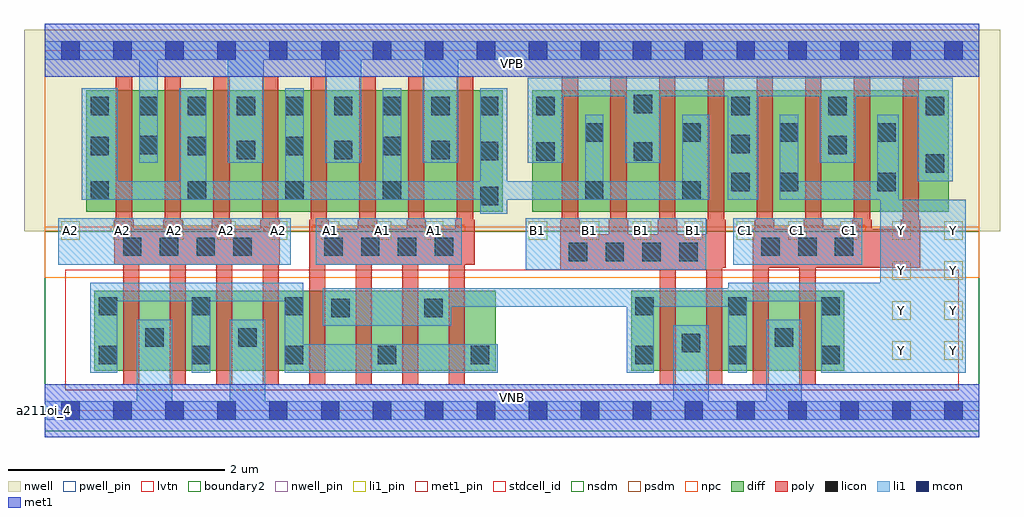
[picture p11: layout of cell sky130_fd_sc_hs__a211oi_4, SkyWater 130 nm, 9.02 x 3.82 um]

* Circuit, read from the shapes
.subckt sky130_fd_sc_hs__a211oi_4 A1 A2 B1 C1 VGND VNB VPB VPWR Y
XM1 VGND A2 n1 VNB sky130_fd_pr__nfet_01v8_lvt w=0.74 l=0.15 m=4
XM2 Y A1 n1 VNB sky130_fd_pr__nfet_01v8_lvt w=0.74 l=0.15 m=4
XM3 VGND B1 Y VNB sky130_fd_pr__nfet_01v8_lvt w=0.74 l=0.15 m=2
XM4 VGND C1 Y VNB sky130_fd_pr__nfet_01v8_lvt w=0.74 l=0.15 m=2
XM5 VPWR A2 n2 VPB sky130_fd_pr__pfet_01v8 w=1.12 l=0.15 m=4
XM6 VPWR A1 n2 VPB sky130_fd_pr__pfet_01v8 w=1.12 l=0.15 m=4
XM7 n2 B1 n3 VPB sky130_fd_pr__pfet_01v8 w=1.12 l=0.15 m=4
XM8 Y C1 n3 VPB sky130_fd_pr__pfet_01v8 w=1.12 l=0.15 m=4
.ends

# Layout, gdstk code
import gdstk
lib = gdstk.Library(unit=1e-6, precision=1e-09)
def R(c, l, rs):  # rectangles x0, y0, x1, y1
    for r in rs: c.add(gdstk.rectangle(r[:2], r[2:], *l))
def A(c, l, x, y, w, h, nx, ny, dx, dy):  # array of equal rectangles
    R(c, l, [(x+i*dx, y+j*dy, x+i*dx+w, y+j*dy+h) for i in range(nx) for j in range(ny)])
def P(c, l, *ps):  # polygons
    for p in ps: c.add(gdstk.Polygon(p, *l))
nwell_pin = (64, 16)
nwell = (64, 20)
diff = (65, 20)
poly = (66, 20)
licon = (66, 44)
li1_pin = (67, 16)
li1 = (67, 20)
mcon = (67, 44)
met1_pin = (68, 16)
met1 = (68, 20)
stdcell_id = (81, 4)
nsdm = (93, 44)
psdm = (94, 20)
npc = (95, 20)
pwell_pin = (122, 16)
lvtn = (125, 44)
boundary2 = (236, 0)

sky130_fd_sc_hs__a211oi_ = lib.new_cell('sky130_fd_sc_hs__a211oi_4')
R(sky130_fd_sc_hs__a211oi_, nwell_pin, [(0,3.085,8.64,3.33)])
R(sky130_fd_sc_hs__a211oi_, nwell, [(-0.19,1.66,8.83,3.52)])
R(sky130_fd_sc_hs__a211oi_, diff, [(0.46,0.37,4.17,1.11), (5.42,0.37,7.39,1.11), (0.385,1.84,4.235,2.96), (4.505,1.84,8.355,2.96)])
P(sky130_fd_sc_hs__a211oi_, poly, [(2.175,1.765),(2.16,1.765),(2.16,3.09),(2.01,3.09),(2.01,1.765),(1.995,1.765),(1.995,1.68),(1.725,1.68),(1.725,1.765),(1.71,1.765),(1.71,3.09),(1.56,3.09),(1.56,1.765),(1.545,1.765),(1.545,1.68),(1.275,1.68),(1.275,1.765),(1.26,1.765),(1.26,3.09),(1.11,3.09),(1.11,1.765),(1.095,1.765),(1.095,1.68),(0.825,1.68),(0.825,1.765),(0.81,1.765),(0.81,3.09),(0.66,3.09),(0.66,1.765),(0.645,1.765),(0.645,1.35),(0.725,1.35),(0.725,0.24),(0.875,0.24),(0.875,1.35),(1.155,1.35),(1.155,0.24),(1.305,0.24),(1.305,1.35),(1.585,1.35),(1.585,0.24),(1.735,0.24),(1.735,1.35),(2.015,1.35),(2.015,0.24),(2.165,0.24),(2.165,1.35),(2.175,1.35)],
  [(3.975,1.765),(3.96,1.765),(3.96,3.09),(3.81,3.09),(3.81,1.765),(3.795,1.765),(3.795,1.68),(3.525,1.68),(3.525,1.765),(3.51,1.765),(3.51,3.09),(3.36,3.09),(3.36,1.765),(3.345,1.765),(3.345,1.68),(3.075,1.68),(3.075,1.765),(3.06,1.765),(3.06,3.09),(2.91,3.09),(2.91,1.765),(2.895,1.765),(2.895,1.68),(2.625,1.68),(2.625,1.765),(2.61,1.765),(2.61,3.09),(2.46,3.09),(2.46,1.765),(2.445,1.765),(2.445,0.24),(2.595,0.24),(2.595,1.35),(2.875,1.35),(2.875,0.24),(3.025,0.24),(3.025,1.35),(3.305,1.35),(3.305,0.24),(3.455,0.24),(3.455,1.35),(3.735,1.35),(3.735,0.24),(3.885,0.24),(3.885,1.35),(3.975,1.35)],
  [(6.295,1.765),(6.28,1.765),(6.28,3.09),(6.13,3.09),(6.13,1.765),(6.115,1.765),(6.115,1.63),(5.845,1.63),(5.845,1.765),(5.83,1.765),(5.83,3.09),(5.68,3.09),(5.68,1.765),(5.665,1.765),(5.665,1.63),(5.395,1.63),(5.395,1.765),(5.38,1.765),(5.38,3.09),(5.23,3.09),(5.23,1.765),(5.215,1.765),(5.215,1.63),(4.945,1.63),(4.945,1.765),(4.93,1.765),(4.93,3.09),(4.78,3.09),(4.78,1.765),(4.765,1.765),(4.765,1.3),(5.685,1.3),(5.685,0.24),(5.835,0.24),(5.835,1.3),(6.115,1.3),(6.115,0.24),(6.265,0.24),(6.265,1.32),(6.295,1.32)],
  [(8.095,1.765),(8.08,1.765),(8.08,3.09),(7.93,3.09),(7.93,1.765),(7.915,1.765),(7.915,1.68),(7.645,1.68),(7.645,1.765),(7.63,1.765),(7.63,3.09),(7.48,3.09),(7.48,1.765),(7.465,1.765),(7.465,1.68),(7.195,1.68),(7.195,1.765),(7.18,1.765),(7.18,3.09),(7.03,3.09),(7.03,1.765),(7.015,1.765),(7.015,1.68),(6.745,1.68),(6.745,1.765),(6.73,1.765),(6.73,3.09),(6.58,3.09),(6.58,1.765),(6.565,1.765),(6.565,1.68),(6.545,1.68),(6.545,0.24),(6.695,0.24),(6.695,1.32),(6.975,1.32),(6.975,0.24),(7.125,0.24),(7.125,1.32),(8.095,1.32)])
A(sky130_fd_sc_hs__a211oi_, licon, 0.5, 0.43, 0.17, 0.17, 5, 1, 0.86, 0)
A(sky130_fd_sc_hs__a211oi_, licon, 5.46, 0.43, 0.17, 0.17, 3, 2, 0.86, 0.45)
A(sky130_fd_sc_hs__a211oi_, licon, 0.5, 0.88, 0.17, 0.17, 3, 1, 0.86, 0)
A(sky130_fd_sc_hs__a211oi_, licon, 4.845, 1.38, 0.17, 0.17, 4, 1, 0.34, 0)
A(sky130_fd_sc_hs__a211oi_, licon, 0.725, 1.43, 0.17, 0.17, 4, 1, 0.34, 0)
A(sky130_fd_sc_hs__a211oi_, licon, 2.585, 1.43, 0.17, 0.17, 4, 1, 0.34, 0)
A(sky130_fd_sc_hs__a211oi_, licon, 6.625, 1.43, 0.17, 0.17, 3, 1, 0.34, 0)
A(sky130_fd_sc_hs__a211oi_, licon, 0.425, 1.95, 0.17, 0.17, 4, 2, 0.9, 0.41)
A(sky130_fd_sc_hs__a211oi_, licon, 1.775, 2.325, 0.17, 0.17, 3, 1, 0.9, 0)
A(sky130_fd_sc_hs__a211oi_, licon, 4.995, 2.485, 0.17, 0.17, 4, 1, 0.9, 0)
A(sky130_fd_sc_hs__a211oi_, licon, 0.425, 2.73, 0.17, 0.17, 9, 1, 0.45, 0)
A(sky130_fd_sc_hs__a211oi_, licon, 6.345, 2.73, 0.17, 0.17, 3, 1, 0.9, 0)
R(sky130_fd_sc_hs__a211oi_, licon, [(5.89,0.54,6.06,0.71), (0.93,0.59,1.1,0.76), (1.79,0.59,1.96,0.76), (6.75,0.59,6.92,0.76), (2.65,0.865,2.82,1.035), (3.51,0.865,3.68,1.035), (4.025,1.9,4.195,2.07), (4.995,1.95,5.165,2.12), (5.895,1.95,6.065,2.12), (6.345,2.03,6.515,2.2), (6.795,2.03,6.965,2.2), (7.695,2.03,7.865,2.2), (8.145,2.2,8.315,2.37), (4.545,2.31,4.715,2.48), (5.445,2.31,5.615,2.48), (4.025,2.315,4.195,2.485), (0.875,2.37,1.045,2.54), (7.245,2.37,7.415,2.54), (6.345,2.38,6.515,2.55), (4.545,2.73,4.715,2.9), (5.445,2.75,5.615,2.92)])
A(sky130_fd_sc_hs__a211oi_, li1_pin, 7.835, 0.47, 0.17, 0.17, 1, 3, 0, 0.37)
A(sky130_fd_sc_hs__a211oi_, li1_pin, 8.315, 0.47, 0.17, 0.17, 1, 3, 0, 0.37)
A(sky130_fd_sc_hs__a211oi_, li1_pin, 0.155, 1.58, 0.17, 0.17, 8, 1, 0.48, 0)
A(sky130_fd_sc_hs__a211oi_, li1_pin, 4.475, 1.58, 0.17, 0.17, 9, 1, 0.48, 0)
R(sky130_fd_sc_hs__a211oi_, li1, [(4.445,1.3,6.115,1.78), (0.125,1.35,2.275,1.78), (2.505,1.35,3.855,1.78), (6.365,1.35,7.555,1.78)])
P(sky130_fd_sc_hs__a211oi_, li1, [(3.495,2.29),(3.495,3.245),(2.925,3.245),(2.925,2.29),(2.595,2.29),(2.595,3.245),(2.025,3.245),(2.025,2.29),(1.695,2.29),(1.695,3.245),(1.045,3.245),(1.045,2.29),(0.875,2.29),(0.875,3.245),(0,3.245),(0,3.415),(8.64,3.415),(8.64,3.245),(3.825,3.245),(3.825,2.29)],
  [(1.71,0.085),(1.71,0.84),(2.04,0.84),(2.04,0.085),(5.81,0.085),(5.81,0.79),(6.14,0.79),(6.14,0.085),(6.67,0.085),(6.67,0.84),(7,0.84),(7,0.085),(8.64,0.085),(8.64,-0.085),(0,-0.085),(0,0.085),(0.85,0.085),(0.85,0.84),(1.18,0.84),(1.18,0.085)],
  [(7.725,1.18),(7.725,1.95),(6.795,1.95),(6.795,2.735),(6.965,2.735),(6.965,2.12),(7.695,2.12),(7.695,2.735),(7.895,2.735),(7.895,1.95),(8.515,1.95),(8.515,0.35),(7.18,0.35),(7.18,1.01),(6.49,1.01),(6.49,0.35),(6.32,0.35),(6.32,0.96),(5.63,0.96),(5.63,0.35),(5.38,0.35),(5.38,0.96),(3.76,0.96),(3.76,0.785),(2.57,0.785),(2.57,1.13),(6.32,1.13),(6.32,1.18)],
  [(8.395,3.075),(4.465,3.075),(4.465,2.29),(4.795,2.29),(4.795,2.905),(5.365,2.905),(5.365,2.29),(5.695,2.29),(5.695,2.905),(6.315,2.905),(6.315,1.95),(6.595,1.95),(6.595,2.905),(7.165,2.905),(7.165,2.29),(7.495,2.29),(7.495,2.905),(8.065,2.905),(8.065,2.12),(8.395,2.12)],
  [(1.36,0.35),(1.36,1.01),(0.67,1.01),(0.67,0.35),(0.42,0.35),(0.42,1.18),(2.39,1.18),(2.39,0.615),(4.19,0.615),(4.19,0.35),(2.22,0.35),(2.22,1.01),(1.53,1.01),(1.53,0.35)],
  [(6.145,2.735),(5.895,2.735),(5.895,2.12),(5.165,2.12),(5.165,2.735),(4.995,2.735),(4.995,2.12),(4.275,2.12),(4.275,2.98),(4.025,2.98),(4.025,2.12),(3.295,2.12),(3.295,2.98),(3.125,2.98),(3.125,2.12),(2.395,2.12),(2.395,2.98),(2.225,2.98),(2.225,2.12),(1.495,2.12),(1.495,2.98),(1.245,2.98),(1.245,2.12),(0.675,2.12),(0.675,2.98),(0.345,2.98),(0.345,1.95),(4.025,1.95),(4.025,1.82),(4.275,1.82),(4.275,1.95),(6.145,1.95)])
A(sky130_fd_sc_hs__a211oi_, mcon, 0.155, -0.085, 0.17, 0.17, 18, 2, 0.48, 3.33)
R(sky130_fd_sc_hs__a211oi_, met1_pin, [(0,0,8.64,0.245), (0,3.085,8.64,3.33)])
R(sky130_fd_sc_hs__a211oi_, met1, [(0,-0.245,8.64,0.245), (0,3.085,8.64,3.575)])
R(sky130_fd_sc_hs__a211oi_, stdcell_id, [(0,0,8.64,3.33)])
R(sky130_fd_sc_hs__a211oi_, nsdm, [(0,-0.19,8.64,1.66)])
P(sky130_fd_sc_hs__a211oi_, psdm, [(8.64,3.52),(0,3.52),(0,1.66),(0.615,1.66),(0.615,1.71),(2.025,1.71),(2.025,1.66),(2.475,1.66),(2.475,1.71),(3.885,1.71),(3.885,1.66),(6.515,1.66),(6.515,1.71),(7.585,1.71),(7.585,1.66),(8.64,1.66)])
R(sky130_fd_sc_hs__a211oi_, npc, [(0,1.23,8.64,1.7)])
R(sky130_fd_sc_hs__a211oi_, pwell_pin, [(0,0,8.64,0.245)])
R(sky130_fd_sc_hs__a211oi_, lvtn, [(0.19,0.19,8.45,1.3)])
R(sky130_fd_sc_hs__a211oi_, boundary2, [(0,0,8.64,3.33)])
sky130_fd_sc_hs__a211oi_.add(gdstk.Label('a211oi_4', (0,0), layer=83, texttype=44))
sky130_fd_sc_hs__a211oi_.add(gdstk.Label('VNB', (4.32,0.123), layer=64, texttype=59))
sky130_fd_sc_hs__a211oi_.add(gdstk.Label('VPB', (4.32,3.208), layer=64, texttype=5))
sky130_fd_sc_hs__a211oi_.add(gdstk.Label('VPWR', (4.32,3.208), layer=68, texttype=5))
sky130_fd_sc_hs__a211oi_.add(gdstk.Label('VGND', (4.32,0.123), layer=68, texttype=5))
sky130_fd_sc_hs__a211oi_.add(gdstk.Label('Y', (7.92,0.555), layer=67, texttype=5))
sky130_fd_sc_hs__a211oi_.add(gdstk.Label('Y', (7.92,0.925), layer=67, texttype=5))
sky130_fd_sc_hs__a211oi_.add(gdstk.Label('Y', (7.92,1.295), layer=67, texttype=5))
sky130_fd_sc_hs__a211oi_.add(gdstk.Label('Y', (7.92,1.665), layer=67, texttype=5))
sky130_fd_sc_hs__a211oi_.add(gdstk.Label('Y', (8.4,0.555), layer=67, texttype=5))
sky130_fd_sc_hs__a211oi_.add(gdstk.Label('Y', (8.4,0.925), layer=67, texttype=5))
sky130_fd_sc_hs__a211oi_.add(gdstk.Label('Y', (8.4,1.295), layer=67, texttype=5))
sky130_fd_sc_hs__a211oi_.add(gdstk.Label('Y', (8.4,1.665), layer=67, texttype=5))
sky130_fd_sc_hs__a211oi_.add(gdstk.Label('C1', (6.48,1.665), layer=67, texttype=5))
sky130_fd_sc_hs__a211oi_.add(gdstk.Label('C1', (6.96,1.665), layer=67, texttype=5))
sky130_fd_sc_hs__a211oi_.add(gdstk.Label('C1', (7.44,1.665), layer=67, texttype=5))
sky130_fd_sc_hs__a211oi_.add(gdstk.Label('B1', (4.56,1.665), layer=67, texttype=5))
sky130_fd_sc_hs__a211oi_.add(gdstk.Label('B1', (5.04,1.665), layer=67, texttype=5))
sky130_fd_sc_hs__a211oi_.add(gdstk.Label('B1', (5.52,1.665), layer=67, texttype=5))
sky130_fd_sc_hs__a211oi_.add(gdstk.Label('B1', (6,1.665), layer=67, texttype=5))
sky130_fd_sc_hs__a211oi_.add(gdstk.Label('A2', (0.24,1.665), layer=67, texttype=5))
sky130_fd_sc_hs__a211oi_.add(gdstk.Label('A2', (0.72,1.665), layer=67, texttype=5))
sky130_fd_sc_hs__a211oi_.add(gdstk.Label('A2', (1.2,1.665), layer=67, texttype=5))
sky130_fd_sc_hs__a211oi_.add(gdstk.Label('A2', (1.68,1.665), layer=67, texttype=5))
sky130_fd_sc_hs__a211oi_.add(gdstk.Label('A2', (2.16,1.665), layer=67, texttype=5))
sky130_fd_sc_hs__a211oi_.add(gdstk.Label('A1', (2.64,1.665), layer=67, texttype=5))
sky130_fd_sc_hs__a211oi_.add(gdstk.Label('A1', (3.12,1.665), layer=67, texttype=5))
sky130_fd_sc_hs__a211oi_.add(gdstk.Label('A1', (3.6,1.665), layer=67, texttype=5))

lib.write_gds('sky130_fd_sc_hs__a211oi_4.gds')
